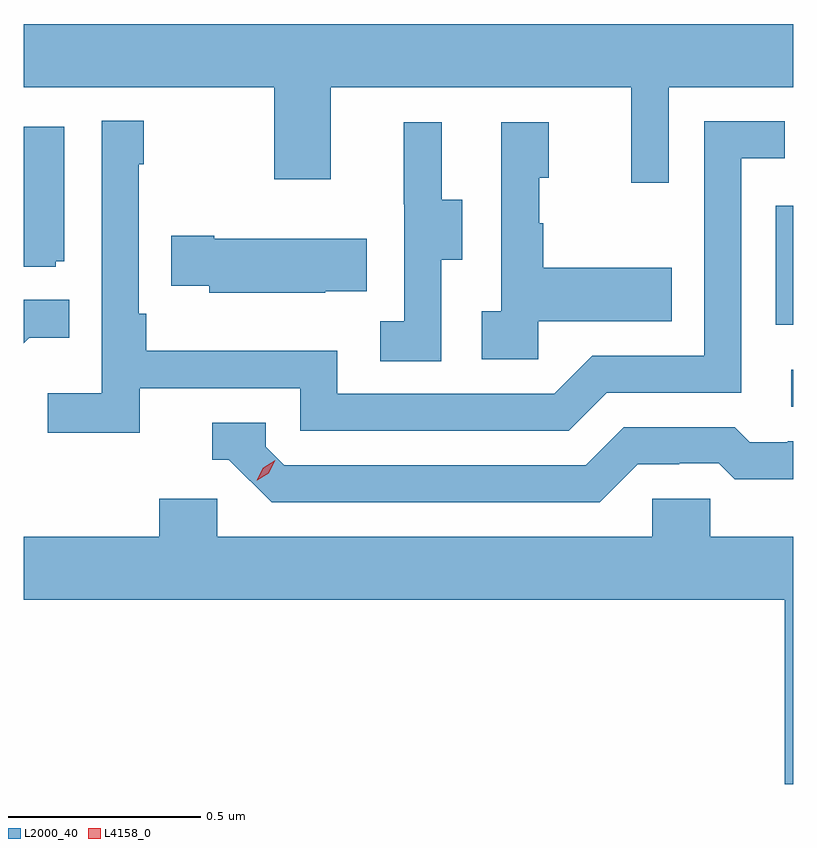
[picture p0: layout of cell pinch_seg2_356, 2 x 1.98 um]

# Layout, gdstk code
import gdstk
lib = gdstk.Library(unit=1e-6, precision=1e-09)
def R(c, l, rs):  # rectangles x0, y0, x1, y1
    for r in rs: c.add(gdstk.rectangle(r[:2], r[2:], *l))
def P(c, l, *ps):  # polygons
    for p in ps: c.add(gdstk.Polygon(p, *l))
L2000_40 = (2000, 40)
L4158_0 = (4158, 0)

pinch_seg2_356 = lib.new_cell('pinch_seg2_356')
R(pinch_seg2_356, L2000_40, [(1000.557,629.49,1000.563,629.586), (1000.518,629.703,1000.563,630.012)])
P(pinch_seg2_356, L2000_40, [(1000.239,630.32),(1000.563,630.32),(1000.563,630.484),(998.563,630.484),(998.563,630.32),(999.214,630.32),(999.214,630.081),(999.361,630.081),(999.361,630.32),(1000.142,630.32),(1000.142,630.072),(1000.239,630.072)],
  [(998.864,629.538),(999.282,629.538),(999.282,629.427),(999.979,629.427),(1000.078,629.526),(1000.428,629.526),(1000.428,630.135),(1000.541,630.135),(1000.541,630.231),(1000.332,630.231),(1000.332,629.622),(1000.041,629.622),(999.942,629.523),(999.378,629.523),(999.378,629.635),(998.882,629.635),(998.882,629.731),(998.862,629.731),(998.862,630.119),(998.875,630.119),(998.875,630.232),(998.766,630.232),(998.766,629.524),(998.625,629.524),(998.625,629.422),(998.864,629.422)],
  [(999.9,629.711),(1000.247,629.711),(1000.247,629.851),(999.913,629.851),(999.913,629.966),(999.903,629.966),(999.903,630.084),(999.928,630.084),(999.928,630.229),(999.804,630.229),(999.804,629.738),(999.753,629.738),(999.753,629.613),(999.9,629.613)],
  [(999.648,629.872),(999.703,629.872),(999.703,630.027),(999.649,630.027),(999.649,630.229),(999.551,630.229),(999.551,630.015),(999.552,630.015),(999.552,629.711),(999.489,629.711),(999.489,629.608),(999.648,629.608)],
  [(998.646,629.868),(998.668,629.868),(998.668,630.217),(998.563,630.217),(998.563,629.853),(998.646,629.853)],
  [(999.347,629.789),(999.455,629.789),(999.455,629.926),(999.058,629.926),(999.058,629.934),(998.947,629.934),(998.947,629.804),(999.045,629.804),(999.045,629.786),(999.347,629.786)],
  [(998.577,629.669),(998.681,629.669),(998.681,629.768),(998.563,629.768),(998.563,629.655)],
  [(1000.159,629.34),(1000.266,629.34),(1000.266,629.343),(1000.369,629.343),(1000.411,629.301),(1000.563,629.301),(1000.563,629.4),(1000.549,629.4),(1000.549,629.397),(1000.45,629.397),(1000.411,629.436),(1000.122,629.436),(1000.023,629.337),(999.24,629.337),(999.192,629.385),(999.192,629.448),(999.053,629.448),(999.053,629.352),(999.096,629.352),(999.207,629.241),(1000.06,629.241)],
  [(1000.563,629.152),(1000.347,629.152),(1000.347,629.25),(1000.197,629.25),(1000.197,629.152),(999.066,629.152),(999.066,629.25),(998.915,629.25),(998.915,629.152),(998.563,629.152),(998.563,628.988),(1000.541,628.988),(1000.541,628.509),(1000.563,628.509)])
P(pinch_seg2_356, L4158_0, [(999.169,629.299),(999.169,629.299),(999.186,629.331),(999.217,629.35),(999.217,629.35),(999.217,629.35),(999.2,629.317),(999.17,629.299)])

lib.write_gds('pinch_seg2_356.gds')
